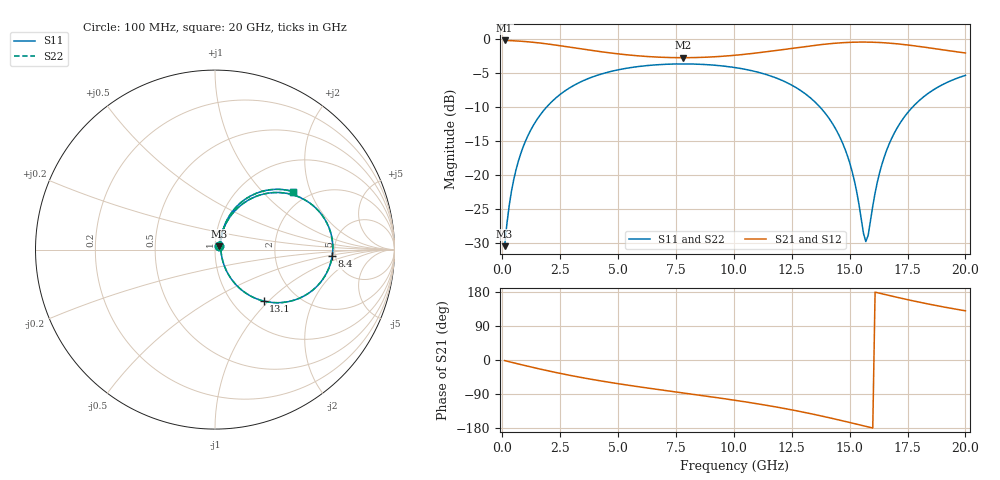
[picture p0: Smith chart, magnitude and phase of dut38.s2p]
! Touchstone file exported from HFSS 2026.1.0
!  File:  C:/ffzhzh/LocalFiles/Ansys_Project_Files/temp_train_TSV_RDL_38_1782965066_6388.aedt
!  Generated:  12:16:19 PM Jul  2, 2026
!  Design:  TSV_RDL
!  Project:  temp_train_TSV_RDL_38_1782965066_6388
! Variables:
!  h_bsmrdl = 3.94um
!  h_ox = 20um
!  h_rdl = 5um
!  h_sub = 55.51um
!  h_tmrdl = 4.45um
!  h_tsv = 55.51um
!  h_via = 3um
!  l_bsmrdl = 501.46um
!  l_sub = 3886.46um
!  l_tmrdl = 476.05um
!  m_sub = 200um
!  pitch = 52.8um
!  r_tsv = 11.26um
!  s_tmrdl = 10um
!  w_bsmrdl = 15.51um
!  w_sub = 500um
!  w_tmrdl = 10.45um
!  x_tsv_center1 = 481.275um
!  x_tsv_center2 = 998.245um
!  x_tsv_center3 = 1484.745um
!  x_tsv_center4 = 2001.715um
!  x_tsv_center5 = 2488.215um
!  x_tsv_center6 = 3005.185um
# GHz S MA R 50.000000
! Terminal data exported
! Port[1] = TM_RDL1_1_T1
! Port[2] = TM_RDL5_1_T1
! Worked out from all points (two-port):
!   200 points, 100 MHz to 20 GHz, reference 50 ohm
!   highest |S21| = -0.21 dB at 100 MHz (marker M1); lowest = -2.7 dB at 7.8 GHz (marker M2)
!   |S21| within 3 dB of the highest: start of sweep to end of sweep
!   lowest |S11| = -30.4 dB at 100 MHz (marker M3), VSWR 1.06, Z = 52.4 + j1.88 ohm
!   |S11| at or under -10 dB: start of sweep to 1.911 GHz; 13.72 GHz to 17.72 GHz (3.994 GHz wide, 25.4 % of centre)
!   |S22| runs from -30.4 to -3.7 dB; largest |S21 - S12| = 2.6e-14
!   S11 on the Smith chart (normalised r, x): 100 MHz: 1.05, +0.04; 8.4 GHz: 4.70, -0.58; 13.1 GHz: 1.38, -0.93; 20 GHz: 1.66, +1.52
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0.1  0.03014 36.5  0.9761 -1.5  0.9761 -1.5  0.03014 36.5
! Gamma 0 0 0 0
! Port Impedance 50 0 50 0
0.3  0.06021 61.4  0.974 -4.6  0.974 -4.6  0.06021 61.4
0.5  0.09391 66.8  0.9706 -7.6  0.9706 -7.6  0.09391 66.8
1.1  0.194 65.7  0.9548 -16.4  0.9548 -16.4  0.194 65.7
2.1  0.3419 55.2  0.9128 -30.2  0.9128 -30.2  0.3419 55.2
3.5  0.4947 39.7  0.842 -47.2  0.842 -47.2  0.4947 39.7
6.8  0.649 9.7  0.7355 -78.5  0.7355 -78.5  0.649 9.7
7.8  0.6565 1.7  0.7292 -86.9  0.7292 -86.9  0.6565 1.7
8.4  0.6539 -3.1  0.7314 -91.9  0.7314 -91.9  0.6539 -3.1
10.1  0.6154 -17.2  0.7614 -106.8  0.7614 -106.8  0.6154 -17.2
11.8  0.5198 -33.0  0.8228 -123.7  0.8228 -123.7  0.5198 -33.0
13.1  0.3946 -46.6  0.8818 -138.9  0.8818 -138.9  0.3946 -46.6
13.4  0.3583 -49.8  0.895 -142.7  0.895 -142.7  0.3583 -49.8
14.2  0.2484 -58.0  0.9259 -153.4  0.9259 -153.4  0.2484 -57.9
14.8  0.1558 -61.7  0.942 -161.9  0.942 -161.9  0.1558 -61.6
15.2  0.09207 -58.7  0.9481 -167.8  0.9481 -167.8  0.09215 -58.6
15.7  0.03256 1.1  0.9498 -175.1  0.9498 -175.1  0.03281 1.2
15.8  0.03613 27.8  0.9494 -176.6  0.9494 -176.6  0.03636 27.6
16.2  0.08944 65.0  0.9447 177.6  0.9447 177.6  0.08954 64.8
16.7  0.1684 68.2  0.9333 170.4  0.9333 170.4  0.1684 68.1
18  0.3528 57.0  0.8823 152.7  0.8823 152.7  0.3528 56.9
20  0.5408 36.7  0.7898 129.8  0.7898 129.8  0.5409 36.7
